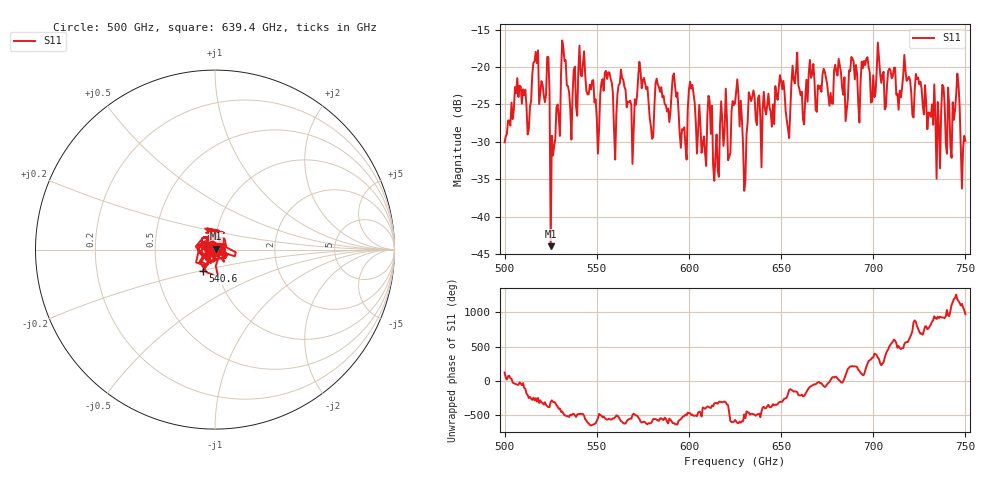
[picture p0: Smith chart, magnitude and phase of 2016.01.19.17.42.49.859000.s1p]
!Created with skrf (http://scikit-rf.org).
# GHz S RI R 50.0
!freq ReS11 ImS11
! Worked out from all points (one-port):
!   401 points, 500 GHz to 750 GHz, reference 50 ohm
!   lowest |S11| = -44.0 dB at 525 GHz (marker M1), VSWR 1.01, Z = 50.4 + j0.526 ohm
!   |S11| at or under -10 dB: start of sweep to end of sweep
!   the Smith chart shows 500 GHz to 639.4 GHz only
!   S11 on the Smith chart (normalised r, x): 500 GHz: 0.96, +0.05; 540.6 GHz: 0.85, -0.21; 639.4 GHz: 1.01, -0.04
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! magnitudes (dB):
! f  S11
! 500 GHz  -30.1
! 506.9 GHz  -21.5
! 513.1 GHz  -28.4
! 516.9 GHz  -18.0
! 523.1 GHz  -18.6
! 525 GHz  -44.0
! 526.2 GHz  -31.8
! 531.2 GHz  -16.5
! 540.6 GHz  -17.1
! 550 GHz  -26.8
! 562.5 GHz  -22.2
! 568.8 GHz  -25.1
! 593.8 GHz  -23.4
! 597.5 GHz  -28.1
! 601.2 GHz  -22.9
! 608.1 GHz  -29.3
! 611.2 GHz  -24.6
! 615 GHz  -29.0
! 625 GHz  -24.8
! 630 GHz  -36.6
! 633.8 GHz  -24.6
! 639.4 GHz  -33.4
! 656.2 GHz  -19.8
! 687.5 GHz  -20.6
! 718.8 GHz  -21.6
! 735 GHz  -24.7
! 745.6 GHz  -20.9
! 750 GHz  -29.9
